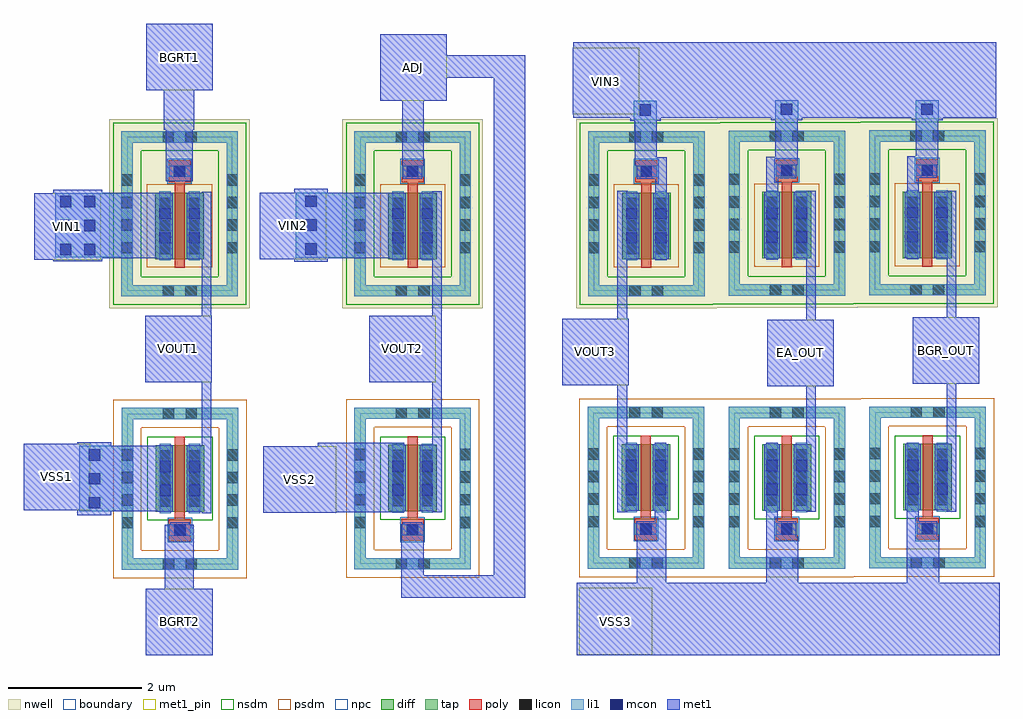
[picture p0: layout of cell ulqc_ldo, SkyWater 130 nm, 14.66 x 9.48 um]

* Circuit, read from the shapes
.subckt ulqc_ldo ADJ BGRT1 BGRT2 BGR_OUT EA_OUT VIN1 VIN2 VIN3 VOUT1 VOUT2 VOUT3 VSS1 VSS2 VSS3
XM1 VOUT1 BGRT2 VSS1 VSS1 sky130_fd_pr__nfet_01v8 w=1 l=0.15
XM2 VOUT2 ADJ VSS2 VSS1 sky130_fd_pr__nfet_01v8 w=1 l=0.15
XM3 VSS3 VSS3 VOUT3 VSS1 sky130_fd_pr__nfet_01v8 w=1 l=0.15
XM4 EA_OUT VSS3 VSS3 VSS1 sky130_fd_pr__nfet_01v8 w=1 l=0.15
XM5 BGR_OUT VSS3 VSS3 VSS1 sky130_fd_pr__nfet_01v8 w=1 l=0.15
XM6 VOUT1 BGRT1 VIN1 VIN1 sky130_fd_pr__pfet_01v8 w=1 l=0.15
XM7 VOUT2 ADJ VIN2 VIN2 sky130_fd_pr__pfet_01v8 w=1 l=0.15
XM8 VIN3 VIN3 VOUT3 VIN3 sky130_fd_pr__pfet_01v8 w=1 l=0.15
XM9 EA_OUT VIN3 VIN3 VIN3 sky130_fd_pr__pfet_01v8 w=1 l=0.15
XM10 BGR_OUT VIN3 VIN3 VIN3 sky130_fd_pr__pfet_01v8 w=1 l=0.15
.ends

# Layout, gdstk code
import gdstk
lib = gdstk.Library(unit=1e-6, precision=1e-09)
def R(c, l, rs):  # rectangles x0, y0, x1, y1
    for r in rs: c.add(gdstk.rectangle(r[:2], r[2:], *l))
def A(c, l, x, y, w, h, nx, ny, dx, dy):  # array of equal rectangles
    R(c, l, [(x+i*dx, y+j*dy, x+i*dx+w, y+j*dy+h) for i in range(nx) for j in range(ny)])
nwell = (64, 20)
diff = (65, 20)
tap = (65, 44)
poly = (66, 20)
licon = (66, 44)
li1 = (67, 20)
mcon = (67, 44)
met1_pin = (68, 16)
met1 = (68, 20)
nsdm = (93, 44)
psdm = (94, 20)
npc = (95, 20)
boundary = (235, 4)

sky130_fd_pr__pfet_01v8_ = lib.new_cell('sky130_fd_pr__pfet_01v8_MGS3BN')
R(sky130_fd_pr__pfet_01v8_, nwell, [(-1.055,-1.42,1.055,1.42)])
R(sky130_fd_pr__pfet_01v8_, diff, [(-0.365,-0.68,0.365,0.32)])
R(sky130_fd_pr__pfet_01v8_, tap, [(-0.875,-1.24,0.875,-1.07), (-0.875,-1.07,-0.705,1.07), (0.705,-1.07,0.875,1.07), (-0.875,1.07,0.875,1.24)])
R(sky130_fd_pr__pfet_01v8_, poly, [(-0.075,-0.81,0.075,0.475), (-0.165,0.475,0.165,0.805)])
A(sky130_fd_pr__pfet_01v8_, licon, -0.305, -0.605, 0.17, 0.17, 1, 3, 0, 0.34)
A(sky130_fd_pr__pfet_01v8_, licon, 0.135, -0.605, 0.17, 0.17, 1, 3, 0, 0.34)
A(sky130_fd_pr__pfet_01v8_, licon, -0.875, -0.595, 0.17, 0.17, 1, 4, 0, 0.34)
A(sky130_fd_pr__pfet_01v8_, licon, 0.705, -0.595, 0.17, 0.17, 1, 4, 0, 0.34)
R(sky130_fd_pr__pfet_01v8_, licon, [(-0.255,-1.24,-0.085,-1.07), (0.085,-1.24,0.255,-1.07), (-0.085,0.555,0.085,0.725), (-0.255,1.07,-0.085,1.24), (0.085,1.07,0.255,1.24)])
R(sky130_fd_pr__pfet_01v8_, li1, [(-0.875,-1.24,0.875,-1.07), (-0.875,-1.07,-0.705,1.07), (0.705,-1.07,0.875,1.07), (-0.305,-0.7,-0.135,0.34), (0.135,-0.7,0.305,0.34), (-0.165,0.555,0.165,0.725), (-0.875,1.07,0.875,1.24)])
R(sky130_fd_pr__pfet_01v8_, mcon, [(-0.305,-0.445,-0.135,-0.275), (0.135,-0.445,0.305,-0.275), (-0.305,-0.085,-0.135,0.085), (0.135,-0.085,0.305,0.085), (-0.085,0.555,0.085,0.725)])
R(sky130_fd_pr__pfet_01v8_, met1, [(-0.335,-0.68,-0.105,0.32), (0.105,-0.68,0.335,0.32), (-0.145,0.525,0.145,0.755)])
R(sky130_fd_pr__pfet_01v8_, nsdm, [(-1,-1.365,1,-0.945), (-1,-0.945,-0.58,0.945), (0.58,-0.945,1,0.945), (-1,0.945,1,1.365)])
R(sky130_fd_pr__pfet_01v8_, psdm, [(-0.49,-0.805,0.49,0.445)])
R(sky130_fd_pr__pfet_01v8_, npc, [(-0.185,0.455,0.185,0.825)])
R(sky130_fd_pr__pfet_01v8_, boundary, [(-0.79,-1.155,0.79,1.155)])

sky130_fd_pr__nfet_01v8_ = lib.new_cell('sky130_fd_pr__nfet_01v8_64QSBY')
R(sky130_fd_pr__nfet_01v8_, diff, [(-0.365,-0.345,0.365,0.655)])
R(sky130_fd_pr__nfet_01v8_, tap, [(-0.875,-1.215,0.875,-1.045), (-0.875,-1.045,-0.705,1.045), (0.705,-1.045,0.875,1.045), (-0.875,1.045,0.875,1.215)])
R(sky130_fd_pr__nfet_01v8_, poly, [(-0.165,-0.785,0.165,-0.455), (-0.075,-0.455,0.075,0.785)])
A(sky130_fd_pr__nfet_01v8_, licon, -0.875, -0.595, 0.17, 0.17, 1, 4, 0, 0.34)
A(sky130_fd_pr__nfet_01v8_, licon, 0.705, -0.595, 0.17, 0.17, 1, 4, 0, 0.34)
A(sky130_fd_pr__nfet_01v8_, licon, -0.305, -0.27, 0.17, 0.17, 1, 3, 0, 0.34)
A(sky130_fd_pr__nfet_01v8_, licon, 0.135, -0.27, 0.17, 0.17, 1, 3, 0, 0.34)
R(sky130_fd_pr__nfet_01v8_, licon, [(-0.255,-1.215,-0.085,-1.045), (0.085,-1.215,0.255,-1.045), (-0.085,-0.705,0.085,-0.535), (-0.255,1.045,-0.085,1.215), (0.085,1.045,0.255,1.215)])
R(sky130_fd_pr__nfet_01v8_, li1, [(-0.875,-1.215,0.875,-1.045), (-0.875,-1.045,-0.705,1.045), (0.705,-1.045,0.875,1.045), (-0.165,-0.705,0.165,-0.535), (-0.305,-0.365,-0.135,0.675), (0.135,-0.365,0.305,0.675), (-0.875,1.045,0.875,1.215)])
R(sky130_fd_pr__nfet_01v8_, mcon, [(-0.085,-0.705,0.085,-0.535), (-0.305,-0.11,-0.135,0.06), (0.135,-0.11,0.305,0.06), (-0.305,0.25,-0.135,0.42), (0.135,0.25,0.305,0.42)])
R(sky130_fd_pr__nfet_01v8_, met1, [(-0.145,-0.735,0.145,-0.505), (-0.335,-0.345,-0.105,0.655), (0.105,-0.345,0.335,0.655)])
R(sky130_fd_pr__nfet_01v8_, nsdm, [(-0.49,-0.47,0.49,0.78)])
R(sky130_fd_pr__nfet_01v8_, psdm, [(-1,-1.34,1,-0.92), (-1,-0.92,-0.58,0.92), (0.58,-0.92,1,0.92), (-1,0.92,1,1.34)])
R(sky130_fd_pr__nfet_01v8_, npc, [(-0.185,-0.805,0.185,-0.435)])
R(sky130_fd_pr__nfet_01v8_, boundary, [(-0.79,-1.13,0.79,1.13)])

ulqc_ldo = lib.new_cell('ulqc_ldo')
R(ulqc_ldo, li1, [(13.05,-10.55,13.86,-9.56), (16.3,-6.74,17.34,-5.76), (12.69,-6.73,13.85,-5.77), (21.385,-5.005,21.72,-4.655), (23.505,-5,23.84,-4.645), (25.615,-4.995,25.95,-4.645), (21.38,-4.655,21.725,-4.385), (23.5,-4.645,23.845,-4.375), (25.61,-4.645,25.955,-4.375)])
A(ulqc_ldo, mcon, 13.19, -10.505, 0.17, 0.17, 1, 3, 0, 0.36)
A(ulqc_ldo, mcon, 12.76, -6.7, 0.17, 0.17, 1, 3, 0, 0.36)
A(ulqc_ldo, mcon, 13.12, -6.7, 0.17, 0.17, 1, 3, 0, 0.36)
A(ulqc_ldo, mcon, 16.445, -6.695, 0.17, 0.17, 1, 3, 0, 0.36)
R(ulqc_ldo, mcon, [(21.465,-4.605,21.635,-4.435), (23.585,-4.595,23.755,-4.425), (25.695,-4.595,25.865,-4.425)])
R(ulqc_ldo, met1_pin, [(14.05,-12.71,15.05,-11.71), (20.56,-12.7,21.655,-11.7), (15.81,-10.57,16.905,-9.57), (12.21,-10.53,13.21,-9.53), (23.38,-8.67,24.38,-7.67), (20.3,-8.655,21.3,-7.655), (25.565,-8.635,26.565,-7.635), (14.04,-8.61,15.04,-7.61), (17.4,-8.61,18.4,-7.61), (12.37,-6.77,13.37,-5.77), (15.76,-6.76,16.76,-5.76), (20.46,-4.585,21.46,-3.585), (17.57,-4.38,18.57,-3.38), (14.055,-4.225,15.055,-3.225)])
R(ulqc_ldo, met1, [(14.05,-12.71,15.05,-11.71), (20.52,-12.71,26.87,-11.62), (19.27,-11.85,19.75,-11.845), (17.885,-11.845,19.75,-11.51), (14.33,-11.71,14.77,-10.75), (21.42,-11.62,21.865,-10.84), (23.365,-11.62,23.845,-10.93), (25.48,-11.62,25.965,-10.925), (17.885,-11.51,18.22,-10.74), (19.27,-11.51,19.75,-4.035), (23.365,-10.93,23.54,-9.515), (25.48,-10.925,25.655,-9.515), (21.69,-10.84,21.865,-9.52), (13.02,-10.61,13.53,-10.55), (14.885,-10.575,15.03,-8.61), (15.81,-10.57,16.905,-10.56), (18.35,-10.565,18.495,-8.61), (15.81,-10.56,17.93,-9.57), (21.13,-10.56,21.275,-8.655), (23.965,-10.555,24.11,-8.67), (26.075,-10.555,26.22,-8.635), (13.02,-10.55,14.45,-10.53), (12.21,-10.53,14.45,-9.565), (16.63,-9.57,17.93,-9.52), (12.21,-9.565,13.53,-9.53), (13.02,-9.53,13.53,-9.51), (23.38,-8.67,24.38,-7.67), (20.3,-8.655,21.3,-7.655), (25.565,-8.635,26.565,-7.635), (14.04,-8.61,15.04,-7.61), (17.4,-8.61,18.495,-7.61), (23.965,-7.67,24.11,-5.73), (21.13,-7.655,21.275,-5.735), (26.075,-7.635,26.22,-5.73), (14.885,-7.61,15.03,-5.75), (18.35,-7.61,18.495,-5.74), (16.28,-6.8,16.78,-6.76), (12.66,-6.79,13.39,-6.77), (12.37,-6.77,13.39,-6.75), (21.7,-6.77,21.875,-5.35), (23.37,-6.765,23.545,-5.345), (15.76,-6.76,16.78,-6.75), (25.485,-6.755,25.66,-5.34), (12.37,-6.75,14.415,-5.77), (15.76,-6.75,17.925,-5.765), (12.66,-5.77,14.415,-5.765), (12.66,-5.765,13.39,-5.72), (15.76,-5.765,16.78,-5.76), (16.28,-5.76,16.78,-5.7), (14.35,-5.59,14.75,-4.82), (17.9,-5.36,18.22,-4.38), (21.39,-5.35,21.875,-5.23), (23.37,-5.345,23.84,-5.225), (25.485,-5.34,25.95,-5.215), (21.39,-5.23,21.725,-4.685), (23.505,-5.225,23.84,-4.675), (25.615,-5.215,25.95,-4.675), (14.32,-4.82,14.775,-4.225), (21.32,-4.685,21.785,-4.635), (23.44,-4.675,23.905,-4.635), (25.55,-4.675,26.015,-4.635), (20.47,-4.635,26.82,-4.585), (20.46,-4.585,26.82,-3.585), (17.57,-4.38,18.57,-4.035), (14.055,-4.225,15.055,-3.225), (17.57,-4.035,19.75,-3.7), (17.57,-3.7,18.57,-3.38), (20.47,-3.585,26.82,-3.5)])
R(ulqc_ldo, nsdm, [(22.565,-7.435,22.675,-4.715), (24.675,-7.43,24.785,-4.705)])
R(ulqc_ldo, psdm, [(22.56,-11.535,22.675,-8.855), (24.675,-11.53,24.79,-8.855)])
ulqc_ldo.add(gdstk.Reference(sky130_fd_pr__pfet_01v8_, (25.785,-6.065)))
ulqc_ldo.add(gdstk.Reference(sky130_fd_pr__nfet_01v8_, (25.79,-10.19)))
ulqc_ldo.add(gdstk.Reference(sky130_fd_pr__pfet_01v8_, (23.675,-6.07)))
ulqc_ldo.add(gdstk.Reference(sky130_fd_pr__nfet_01v8_, (23.675,-10.195)))
ulqc_ldo.add(gdstk.Reference(sky130_fd_pr__pfet_01v8_, (21.565,-6.08)))
ulqc_ldo.add(gdstk.Reference(sky130_fd_pr__nfet_01v8_, (21.56,-10.195)))
ulqc_ldo.add(gdstk.Reference(sky130_fd_pr__pfet_01v8_, (18.055,-6.08)))
ulqc_ldo.add(gdstk.Reference(sky130_fd_pr__nfet_01v8_, (18.055,-10.205)))
ulqc_ldo.add(gdstk.Reference(sky130_fd_pr__pfet_01v8_, (14.555,-6.08)))
ulqc_ldo.add(gdstk.Reference(sky130_fd_pr__nfet_01v8_, (14.56,-10.21)))
ulqc_ldo.add(gdstk.Label('ADJ', (18.07,-3.88), layer=68, texttype=5))
ulqc_ldo.add(gdstk.Label('BGRT1', (14.555,-3.725), layer=68, texttype=5))
ulqc_ldo.add(gdstk.Label('BGRT2', (14.55,-12.21), layer=68, texttype=5))
ulqc_ldo.add(gdstk.Label('BGR_OUT', (26.065,-8.135), layer=68, texttype=5))
ulqc_ldo.add(gdstk.Label('VSS1', (12.71,-10.03), layer=68, texttype=5))
ulqc_ldo.add(gdstk.Label('EA_OUT', (23.88,-8.17), layer=68, texttype=5))
ulqc_ldo.add(gdstk.Label('VSS2', (16.357,-10.07), layer=68, texttype=5))
ulqc_ldo.add(gdstk.Label('VSS3', (21.107,-12.2), layer=68, texttype=5))
ulqc_ldo.add(gdstk.Label('VOUT1', (14.54,-8.11), layer=68, texttype=5))
ulqc_ldo.add(gdstk.Label('VIN1', (12.87,-6.27), layer=68, texttype=5))
ulqc_ldo.add(gdstk.Label('VOUT2', (17.9,-8.11), layer=68, texttype=5))
ulqc_ldo.add(gdstk.Label('VIN2', (16.26,-6.26), layer=68, texttype=5))
ulqc_ldo.add(gdstk.Label('VOUT3', (20.8,-8.155), layer=68, texttype=5))
ulqc_ldo.add(gdstk.Label('VIN3', (20.96,-4.085), layer=68, texttype=5))

lib.write_gds('ulqc_ldo.gds')
